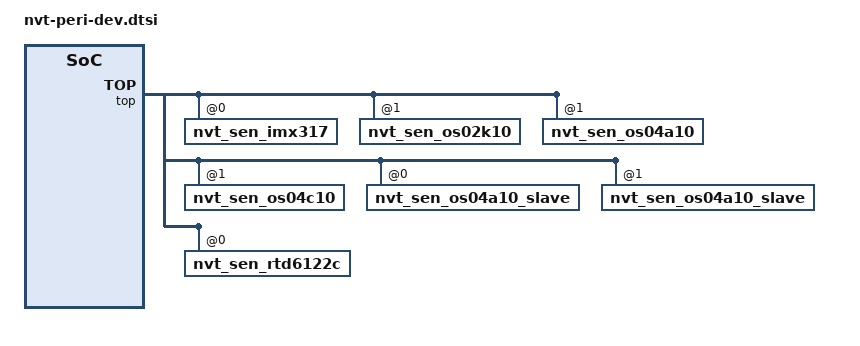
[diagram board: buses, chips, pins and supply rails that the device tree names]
/*
 * Novatek Ltd. BSP part of dts
 */

#define SENSOR_COMMON_NODE0(name) \
	name { \
		pinctrl = < \
			PIN_FUNC_SENSORMISC PIN_SENSORMISC_CFG_SN_MCLK_1 \
			PIN_FUNC_CSI        PIN_CSI_CFG_CSI \
			PIN_FUNC_I2C        PIN_I2C_CFG_I2C_1 \
		>; \
	};

#define SENSOR_COMMON_NODE2(name) \
	name { \
		pinctrl = < \
			PIN_FUNC_SENSORMISC PIN_SENSORMISC_CFG_SN2_MCLK_1 \
			PIN_FUNC_CSI        PIN_CSI_CFG_CSI \
			PIN_FUNC_I2C        PIN_I2C_CFG_I2C_1 \
		>; \
	};

#define SENSOR_COMMON_NODE4(name) \
	name { \
		pinctrl = < \
			PIN_FUNC_SENSORMISC PIN_SENSORMISC_CFG_SN_MCLK_1 \
			PIN_FUNC_CSI        PIN_CSI_CFG_CSI \
			PIN_FUNC_I2C        PIN_I2C_CFG_I2C_1 \
		>; \
	};

#define SENSOR_COMMON_NODE9(name) \
	name { \
		pinctrl = < \
			PIN_FUNC_SENSORMISC PIN_SENSORMISC_CFG_SN_MCLK_1 \
			PIN_FUNC_CSI        PIN_CSI_CFG_CSI3 \
			PIN_FUNC_I2C        PIN_I2C_CFG_I2C_1 \
		>; \
	};

&top {
	SENSOR_COMMON_NODE0(nvt_sen_imx123@0)
	SENSOR_COMMON_NODE0(nvt_sen_imx290@0)
	SENSOR_COMMON_NODE0(nvt_sen_imx678@0)
	SENSOR_COMMON_NODE0(nvt_sen_imx415@0)
	SENSOR_COMMON_NODE0(nvt_sen_os02k10@0)
	SENSOR_COMMON_NODE0(nvt_sen_os03a10@0)
	SENSOR_COMMON_NODE0(nvt_sen_os04a10@0)
	SENSOR_COMMON_NODE0(nvt_sen_os04c10@0)
	SENSOR_COMMON_NODE0(nvt_sen_os05a10@0)
	SENSOR_COMMON_NODE0(nvt_sen_ov48b@0)
	SENSOR_COMMON_NODE0(nvt_sen_sc450ai@0)
	SENSOR_COMMON_NODE0(nvt_sen_sc850sl@0)
	SENSOR_COMMON_NODE0(nvt_sen_rtd6122c@0)
	SENSOR_COMMON_NODE0(nvt_sen_gc8613@0)
	SENSOR_COMMON_NODE0(nvt_sen_os12d40@0)
	SENSOR_COMMON_NODE2(nvt_sen_imx415@1)

	SENSOR_COMMON_NODE4(nvt_sen_imx636@0)

	SENSOR_COMMON_NODE9(nvt_sen_ad_nvp6188@0)

	nvt_sen_imx317@0 {
		pinctrl = <
			PIN_FUNC_SENSORMISC PIN_SENSORMISC_CFG_SN_MCLK_1 \
			PIN_FUNC_CSI        PIN_CSI_CFG_CSI \
			PIN_FUNC_I2C        PIN_I2C_CFG_I2C_1 \
		>;
	};

	nvt_sen_os02k10@1 {
		pinctrl = <
			PIN_FUNC_SENSORMISC PIN_SENSORMISC_CFG_SN_MCLK_1 \
			PIN_FUNC_CSI        PIN_CSI_CFG_CSI \
			PIN_FUNC_I2C        PIN_I2C_CFG_I2C2_1 \
		>;
	};

	nvt_sen_os04a10@1 {
		pinctrl = <
			PIN_FUNC_SENSORMISC PIN_SENSORMISC_CFG_SN_MCLK_1 \
			PIN_FUNC_CSI        PIN_CSI_CFG_CSI \
			PIN_FUNC_I2C        PIN_I2C_CFG_I2C2_1 \
		>;
	};

	nvt_sen_os04c10@1 {
		pinctrl = <
			PIN_FUNC_SENSORMISC PIN_SENSORMISC_CFG_SN_MCLK_1 \
			PIN_FUNC_CSI        PIN_CSI_CFG_CSI \
			PIN_FUNC_I2C        PIN_I2C_CFG_I2C2_1 \
		>;
	};

	nvt_sen_os04a10_slave@0 {
		pinctrl = <
			PIN_FUNC_SENSORMISC (PIN_SENSORMISC_CFG_SN_MCLK_1 | PIN_SENSORMISC_CFG_SN_XVSXHS_1) \
			PIN_FUNC_CSI        PIN_CSI_CFG_CSI \
			PIN_FUNC_I2C        PIN_I2C_CFG_I2C_1 \
		>;
	};

	nvt_sen_os04a10_slave@1 {
		pinctrl = <
			PIN_FUNC_SENSORMISC (PIN_SENSORMISC_CFG_SN_MCLK_1 | PIN_SENSORMISC_CFG_SN_XVSXHS_1) \
			PIN_FUNC_CSI        PIN_CSI_CFG_CSI \
			PIN_FUNC_I2C        PIN_I2C_CFG_I2C2_1 \
		>;
	};

	nvt_sen_rtd6122c@0 {
		pinctrl = <
			PIN_FUNC_SENSORMISC PIN_SENSORMISC_CFG_SN3_MCLK_1 \
			PIN_FUNC_SENSOR2    PIN_SENSOR2_CFG_TSENSOR7BITS \
		>;
	};
};

#if 0
&i2c0 {
	#address-cells = <1>;
	#size-cells = <0>;
	ad_nvp6188@0 {
		compatible = "nvt,ad_nvp6188.0";
		reg = <0x30>;  // 7-bit slave register
		power_cfg {
			mclk_sel; // ex : "MCLK" or "MCLK2" or "MCLK3"

			///////////////////////////////////////////////////////////////////////////////////////////////////
			// io control description                                                                        //
			// io_ctl0@0~19(max) = <io_pin 	 level   hold time>                                              //
			//   io_pin - (3 types)                                                                          //
			//     1. pin name (ex. S_GPIO(4), PGPIO(0), ...)                                                //
			//     2. 0xfffe: the following commands will only applied on 'power on' sequence (default)      //
			//     3. 0xfffd: the following commands will only applied on 'power off' sequence               //
			//   level - 1: pull high, 0: pull low                                                           //
			//   hold time - delay time (us)                                                                 //
			///////////////////////////////////////////////////////////////////////////////////////////////////
			//// power on ////
			io_ctl0 = <0xfffe       0 0>;      // power on
			io_ctl1 = <P_GPIO(3)    0 30000>;  // reset
			io_ctl2 = <P_GPIO(3)    1 1000>;   // reset

			//// power off ////
			io_ctl3 = <0xfffd    0 0>;         // power off
			io_ctl4 = <P_GPIO(3) 0 1000>;      // reset
		};

		outport@0 {
			inport = <0 1 2 3>;
			signal = <1>;                      // 0: parallel, 1:mipi
		};
	};
};
#endif

&i2c1 {
	#address-cells = <2>;
	#size-cells = <2>;
};

&i2c2 {
	#address-cells = <2>;
	#size-cells = <2>;
};

&i2c3 {
	#address-cells = <2>;
	#size-cells = <2>;
};
